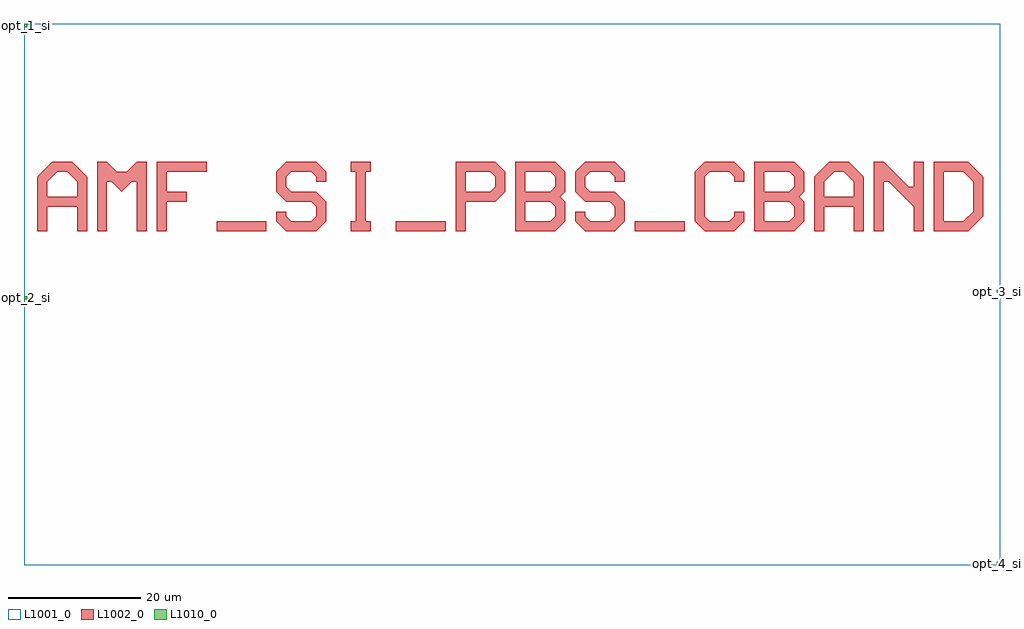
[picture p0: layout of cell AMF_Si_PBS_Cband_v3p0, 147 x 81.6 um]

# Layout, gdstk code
import gdstk
lib = gdstk.Library(unit=1e-6, precision=1e-09)
def R(c, l, rs):  # rectangles x0, y0, x1, y1
    for r in rs: c.add(gdstk.rectangle(r[:2], r[2:], *l))
def P(c, l, *ps):  # polygons
    for p in ps: c.add(gdstk.Polygon(p, *l))
L1001_0 = (1001, 0)
L1002_0 = (1002, 0)
L1010_0 = (1010, 0)

amf_si_pbs_cband_v3p0 = lib.new_cell('AMF_Si_PBS_Cband_v3p0')
R(amf_si_pbs_cband_v3p0, L1001_0, [(0,-40.3,147,41.3)])
R(amf_si_pbs_cband_v3p0, L1002_0, [(29,10,36.5,11.5), (56,10,63.5,11.5), (92,10,99.5,11.5)])
P(amf_si_pbs_cband_v3p0, L1002_0, [(2,10),(2,18.25),(4.25,20.5),(7.25,20.5),(8.75,19),(5,19),(3.5,17.5),(3.5,15.25),(8,15.25),(8,17.5),(6.5,19),(8.75,19),(9.5,18.25),(9.5,10),(8,10),(8,13.75),(3.5,13.75),(3.5,10)],
  [(11,10),(11,20.5),(12.5,20.5),(14,19),(15.5,19),(17,20.5),(18.5,20.5),(18.5,10),(17,10),(17,17.5),(16.25,17.5),(14.75,16),(13.25,17.5),(12.5,17.5),(12.5,10)],
  [(20,10),(20,20.5),(27.5,20.5),(27.5,19),(21.5,19),(21.5,16),(24.5,16),(24.5,14.5),(21.5,14.5),(21.5,10)],
  [(39.5,10),(38,11.5),(38,13),(39.5,13),(39.5,12.25),(40.25,11.5),(43.25,11.5),(44,12.25),(44,13.75),(43.25,14.5),(39.5,14.5),(38,16),(38,19),(39.5,20.5),(44,20.5),(45.5,19),(45.5,17.5),(44,17.5),(44,18.25),(43.25,19),(40.25,19),(39.5,18.25),(39.5,16.75),(40.25,16),(44,16),(45.5,14.5),(45.5,11.5),(44,10)],
  [(49.25,10),(49.25,11.5),(50,11.5),(50,19),(49.25,19),(49.25,20.5),(52.25,20.5),(52.25,19),(51.5,19),(51.5,11.5),(52.25,11.5),(52.25,10)],
  [(65,10),(65,20.5),(71,20.5),(72.5,19),(72.5,16),(71,14.5),(66.5,14.5),(66.5,16),(70.25,16),(71,16.75),(71,18.25),(70.25,19),(66.5,19),(66.5,10)],
  [(74,10),(74,20.5),(80,20.5),(81.5,19),(75.5,19),(75.5,16),(79.25,16),(80,16.75),(80,18.25),(79.25,19),(81.5,19),(81.5,16),(80.75,15.25),(81.5,14.5),(75.5,14.5),(75.5,11.5),(79.25,11.5),(80,12.25),(80,13.75),(79.25,14.5),(81.5,14.5),(81.5,11.5),(80,10)],
  [(84.5,10),(83,11.5),(83,13),(84.5,13),(84.5,12.25),(85.25,11.5),(88.25,11.5),(89,12.25),(89,13.75),(88.25,14.5),(84.5,14.5),(83,16),(83,19),(84.5,20.5),(89,20.5),(90.5,19),(90.5,17.5),(89,17.5),(89,18.25),(88.25,19),(85.25,19),(84.5,18.25),(84.5,16.75),(85.25,16),(89,16),(90.5,14.5),(90.5,11.5),(89,10)],
  [(102.5,10),(101,11.5),(101,19),(102.5,20.5),(107,20.5),(108.5,19),(108.5,17.5),(107,17.5),(107,18.25),(106.25,19),(103.25,19),(102.5,18.25),(102.5,12.25),(103.25,11.5),(106.25,11.5),(107,12.25),(107,13),(108.5,13),(108.5,11.5),(107,10)],
  [(110,10),(110,20.5),(116,20.5),(117.5,19),(111.5,19),(111.5,16),(115.25,16),(116,16.75),(116,18.25),(115.25,19),(117.5,19),(117.5,16),(116.75,15.25),(117.5,14.5),(111.5,14.5),(111.5,11.5),(115.25,11.5),(116,12.25),(116,13.75),(115.25,14.5),(117.5,14.5),(117.5,11.5),(116,10)],
  [(119,10),(119,18.25),(121.25,20.5),(124.25,20.5),(125.75,19),(122,19),(120.5,17.5),(120.5,15.25),(125,15.25),(125,17.5),(123.5,19),(125.75,19),(126.5,18.25),(126.5,10),(125,10),(125,13.75),(120.5,13.75),(120.5,10)],
  [(128,10),(128,20.5),(129.5,20.5),(133.25,16.75),(134,16.75),(134,20.5),(135.5,20.5),(135.5,10),(134,10),(134,13.75),(130.25,17.5),(129.5,17.5),(129.5,10)],
  [(137,10),(137,20.5),(142.25,20.5),(143.75,19),(138.5,19),(138.5,11.5),(141.5,11.5),(143,13),(143,17.5),(141.5,19),(143.75,19),(144.5,18.25),(144.5,12.25),(142.25,10)])
R(amf_si_pbs_cband_v3p0, L1010_0, [(146.5,-40.25,147,-39.75), (0,-0.25,0.5,0.25), (146.5,0.75,147,1.25), (0,40.75,0.5,41.25)])
amf_si_pbs_cband_v3p0.add(gdstk.Label('opt_1_si', (0,41), layer=1010, texttype=0))
amf_si_pbs_cband_v3p0.add(gdstk.Label('opt_3_si', (147,1), layer=1010, texttype=0))
amf_si_pbs_cband_v3p0.add(gdstk.Label('opt_4_si', (147,-40), layer=1010, texttype=0))
amf_si_pbs_cband_v3p0.add(gdstk.Label('opt_2_si', (0,0), layer=1010, texttype=0))

lib.write_gds('AMF_Si_PBS_Cband_v3p0.gds')
